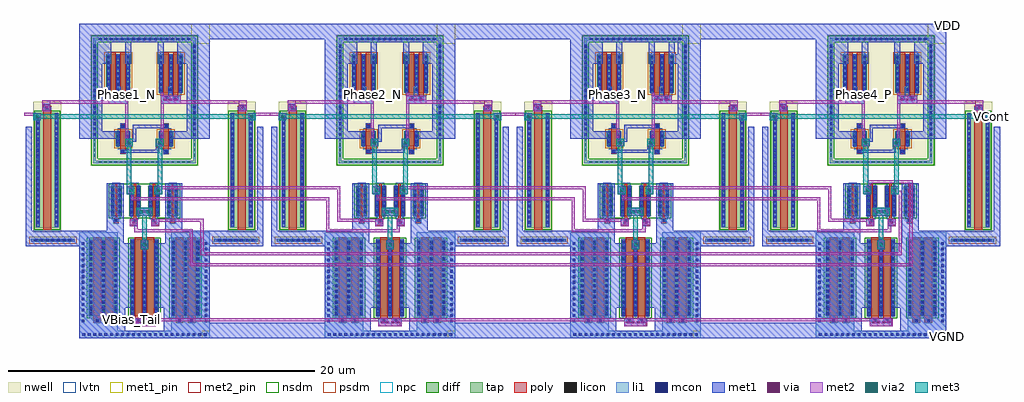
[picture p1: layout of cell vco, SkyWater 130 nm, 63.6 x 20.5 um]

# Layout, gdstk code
from math import pi, radians
import gdstk
lib = gdstk.Library(unit=1e-6, precision=1e-09)
def R(c, l, rs):  # rectangles x0, y0, x1, y1
    for r in rs: c.add(gdstk.rectangle(r[:2], r[2:], *l))
def A(c, l, x, y, w, h, nx, ny, dx, dy):  # array of equal rectangles
    R(c, l, [(x+i*dx, y+j*dy, x+i*dx+w, y+j*dy+h) for i in range(nx) for j in range(ny)])
nwell = (64, 20)
diff = (65, 20)
tap = (65, 44)
poly = (66, 20)
licon = (66, 44)
li1 = (67, 20)
mcon = (67, 44)
met1_pin = (68, 16)
met1 = (68, 20)
via = (68, 44)
met2_pin = (69, 16)
met2 = (69, 20)
via2 = (69, 44)
met3 = (70, 20)
nsdm = (93, 44)
psdm = (94, 20)
npc = (95, 20)
lvtn = (125, 44)

sky130_fd_pr__cap_var_lv = lib.new_cell('sky130_fd_pr__cap_var_lvt_2MFS6B')
R(sky130_fd_pr__cap_var_lv, nwell, [(-0.915,-4.135,0.915,4.13)])
R(sky130_fd_pr__cap_var_lv, tap, [(-0.735,-3.825,0.735,3.675)])
R(sky130_fd_pr__cap_var_lv, poly, [(-0.25,-3.955,0.25,4.115)])
A(sky130_fd_pr__cap_var_lv, licon, -0.675, -3.56, 0.17, 0.17, 1, 21, 0, 0.34)
A(sky130_fd_pr__cap_var_lv, licon, 0.505, -3.56, 0.17, 0.17, 1, 21, 0, 0.34)
R(sky130_fd_pr__cap_var_lv, licon, [(-0.085,3.865,0.085,4.035)])
R(sky130_fd_pr__cap_var_lv, li1, [(-0.675,-3.785,-0.505,3.635), (0.505,-3.785,0.675,3.635), (-0.25,3.865,0.25,4.035)])
A(sky130_fd_pr__cap_var_lv, mcon, -0.675, -3.58, 0.17, 0.17, 1, 20, 0, 0.36)
A(sky130_fd_pr__cap_var_lv, mcon, 0.505, -3.58, 0.17, 0.17, 1, 20, 0, 0.36)
R(sky130_fd_pr__cap_var_lv, mcon, [(-0.085,3.865,0.085,4.035)])
R(sky130_fd_pr__cap_var_lv, met1, [(-0.705,-3.765,-0.475,3.615), (0.475,-3.765,0.705,3.615), (-0.23,3.835,0.23,4.065)])
R(sky130_fd_pr__cap_var_lv, nsdm, [(-0.86,-3.95,0.86,3.8)])
R(sky130_fd_pr__cap_var_lv, npc, [(-0.185,3.765,0.185,4.135)])

sky130_fd_pr__nfet_01v8_ = lib.new_cell('sky130_fd_pr__nfet_01v8_lvt_LD3PZJ')
R(sky130_fd_pr__nfet_01v8_, diff, [(-0.365,-0.845,0.365,1.155)])
R(sky130_fd_pr__nfet_01v8_, poly, [(-0.165,-1.285,0.165,-0.955), (-0.075,-0.955,0.075,1.285)])
A(sky130_fd_pr__nfet_01v8_, licon, -0.305, -0.78, 0.17, 0.17, 1, 6, 0, 0.34)
A(sky130_fd_pr__nfet_01v8_, licon, 0.135, -0.78, 0.17, 0.17, 1, 6, 0, 0.34)
R(sky130_fd_pr__nfet_01v8_, licon, [(-0.085,-1.205,0.085,-1.035)])
R(sky130_fd_pr__nfet_01v8_, li1, [(-0.165,-1.205,0.165,-1.035), (-0.305,-0.865,-0.135,1.175), (0.135,-0.865,0.305,1.175)])
A(sky130_fd_pr__nfet_01v8_, mcon, -0.305, -0.65, 0.17, 0.17, 1, 5, 0, 0.36)
A(sky130_fd_pr__nfet_01v8_, mcon, 0.135, -0.65, 0.17, 0.17, 1, 5, 0, 0.36)
R(sky130_fd_pr__nfet_01v8_, mcon, [(-0.085,-1.205,0.085,-1.035)])
R(sky130_fd_pr__nfet_01v8_, met1, [(-0.145,-1.235,0.145,-1.005), (-0.335,-0.845,-0.105,1.155), (0.105,-0.845,0.335,1.155)])
R(sky130_fd_pr__nfet_01v8_, nsdm, [(-0.49,-0.97,0.49,1.28)])
R(sky130_fd_pr__nfet_01v8_, npc, [(-0.185,-1.305,0.185,-0.935)])
R(sky130_fd_pr__nfet_01v8_, lvtn, [(-0.255,-1.025,0.255,1.335)])

c_sky130_fd_pr__nfet_01v8_ = lib.new_cell('sky130_fd_pr__nfet_01v8_VYPRF6')
R(c_sky130_fd_pr__nfet_01v8_, diff, [(-0.935,-2.345,0.935,2.655)])
R(c_sky130_fd_pr__nfet_01v8_, poly, [(-0.645,-2.785,-0.145,2.785), (0.145,-2.785,0.645,2.785)])
A(c_sky130_fd_pr__nfet_01v8_, licon, -0.875, -2.14, 0.17, 0.17, 3, 14, 0.79, 0.34)
R(c_sky130_fd_pr__nfet_01v8_, licon, [(-0.48,-2.705,-0.31,-2.535), (0.31,-2.705,0.48,-2.535)])
A(c_sky130_fd_pr__nfet_01v8_, li1, -0.875, -2.365, 0.17, 5.04, 3, 1, 0.79, 0)
R(c_sky130_fd_pr__nfet_01v8_, li1, [(-0.645,-2.705,-0.145,-2.535), (0.145,-2.705,0.645,-2.535)])
A(c_sky130_fd_pr__nfet_01v8_, mcon, -0.875, -2.27, 0.17, 0.17, 3, 14, 0.79, 0.36)
R(c_sky130_fd_pr__nfet_01v8_, mcon, [(-0.48,-2.705,-0.31,-2.535), (0.31,-2.705,0.48,-2.535)])
A(c_sky130_fd_pr__nfet_01v8_, met1, -0.905, -2.345, 0.23, 5, 3, 1, 0.79, 0)
R(c_sky130_fd_pr__nfet_01v8_, met1, [(-0.625,-2.735,-0.165,-2.505), (0.165,-2.735,0.625,-2.505)])
R(c_sky130_fd_pr__nfet_01v8_, nsdm, [(-1.06,-2.47,1.06,2.78)])
R(c_sky130_fd_pr__nfet_01v8_, npc, [(-0.58,-2.805,-0.21,-2.435), (0.21,-2.805,0.58,-2.435)])

sky130_fd_pr__pfet_01v8_ = lib.new_cell('sky130_fd_pr__pfet_01v8_lvt_588M4F')
R(sky130_fd_pr__pfet_01v8_, nwell, [(-0.645,-1,0.645,1)])
R(sky130_fd_pr__pfet_01v8_, diff, [(-0.465,-0.5,0.465,0.5)])
R(sky130_fd_pr__pfet_01v8_, poly, [(-0.175,-0.985,0.175,0.985)])
A(sky130_fd_pr__pfet_01v8_, licon, -0.405, -0.425, 0.17, 0.17, 1, 3, 0, 0.34)
A(sky130_fd_pr__pfet_01v8_, licon, 0.235, -0.425, 0.17, 0.17, 1, 3, 0, 0.34)
R(sky130_fd_pr__pfet_01v8_, licon, [(-0.085,-0.905,0.085,-0.735), (-0.085,0.735,0.085,0.905)])
R(sky130_fd_pr__pfet_01v8_, li1, [(-0.175,-0.905,0.175,-0.735), (-0.405,-0.52,-0.235,0.52), (0.235,-0.52,0.405,0.52), (-0.175,0.735,0.175,0.905)])
R(sky130_fd_pr__pfet_01v8_, mcon, [(-0.085,-0.905,0.085,-0.735), (-0.405,-0.265,-0.235,-0.095), (0.235,-0.265,0.405,-0.095), (-0.405,0.095,-0.235,0.265), (0.235,0.095,0.405,0.265), (-0.085,0.735,0.085,0.905)])
R(sky130_fd_pr__pfet_01v8_, met1, [(-0.155,-0.935,0.155,-0.705), (-0.435,-0.5,-0.205,0.5), (0.205,-0.5,0.435,0.5), (-0.155,0.705,0.155,0.935)])
R(sky130_fd_pr__pfet_01v8_, psdm, [(-0.59,-0.625,0.59,0.625)])
R(sky130_fd_pr__pfet_01v8_, npc, [(-0.185,-1.005,0.185,-0.635), (-0.185,0.635,0.185,1.005)])
R(sky130_fd_pr__pfet_01v8_, lvtn, [(-0.355,-0.68,0.355,0.68)])

c_sky130_fd_pr__pfet_01v8_ = lib.new_cell('sky130_fd_pr__pfet_01v8_lvt_RE2QD2')
R(c_sky130_fd_pr__pfet_01v8_, nwell, [(-0.965,-1.57,0.965,1.74)])
R(c_sky130_fd_pr__pfet_01v8_, diff, [(-0.785,-1.07,0.785,1.43)])
R(c_sky130_fd_pr__pfet_01v8_, poly, [(-0.495,-1.555,-0.145,1.56), (0.145,-1.555,0.495,1.56)])
A(c_sky130_fd_pr__pfet_01v8_, licon, -0.725, -0.925, 0.17, 0.17, 3, 7, 0.64, 0.34)
R(c_sky130_fd_pr__pfet_01v8_, licon, [(-0.405,-1.475,-0.235,-1.305), (0.235,-1.475,0.405,-1.305)])
A(c_sky130_fd_pr__pfet_01v8_, li1, -0.725, -1.09, 0.17, 2.54, 3, 1, 0.64, 0)
R(c_sky130_fd_pr__pfet_01v8_, li1, [(-0.495,-1.475,-0.145,-1.305), (0.145,-1.475,0.495,-1.305)])
A(c_sky130_fd_pr__pfet_01v8_, mcon, -0.725, -0.985, 0.17, 0.17, 3, 7, 0.64, 0.36)
R(c_sky130_fd_pr__pfet_01v8_, mcon, [(-0.405,-1.475,-0.235,-1.305), (0.235,-1.475,0.405,-1.305)])
A(c_sky130_fd_pr__pfet_01v8_, met1, -0.755, -1.07, 0.23, 2.5, 3, 1, 0.64, 0)
R(c_sky130_fd_pr__pfet_01v8_, met1, [(-0.475,-1.505,-0.165,-1.275), (0.165,-1.505,0.475,-1.275)])
R(c_sky130_fd_pr__pfet_01v8_, psdm, [(-0.91,-1.195,0.91,1.555)])
R(c_sky130_fd_pr__pfet_01v8_, npc, [(-0.505,-1.575,-0.135,-1.205), (0.135,-1.575,0.505,-1.205)])
R(c_sky130_fd_pr__pfet_01v8_, lvtn, [(-0.675,-1.25,0.675,1.61)])

delay_cell = lib.new_cell('delay_cell')
R(delay_cell, nwell, [(-6.5,-0.6,-4.67,7.9), (6.17,-0.6,8,7.9), (-2.765,3.735,4.265,12.265)])
R(delay_cell, tap, [(-6.62,-1.2,-3.78,-1), (5.28,-1.2,8.12,-1), (-2.585,3.915,4.085,4.085), (-2.585,4.085,-2.415,11.915), (3.915,4.085,4.085,11.915), (-2.585,11.915,4.085,12.085)])
A(delay_cell, licon, -6.475, -1.185, 0.17, 0.17, 8, 1, 0.34, 0)
A(delay_cell, licon, 5.425, -1.185, 0.17, 0.17, 8, 1, 0.34, 0)
A(delay_cell, licon, -2.225, 3.915, 0.17, 0.17, 18, 2, 0.34, 8)
A(delay_cell, licon, -2.585, 4.345, 0.17, 0.17, 1, 22, 0, 0.34)
A(delay_cell, licon, 3.915, 4.345, 0.17, 0.17, 1, 22, 0, 0.34)
R(delay_cell, li1, [(-3.5,-7.5,5,-7), (-3.5,-7,-1,-0.6), (2.5,-7,5,-0.6), (-6.58,-1.2,-3.82,-1), (5.32,-1.2,8.08,-1), (-2.585,3.915,4.085,4.085), (-2.585,4.085,-2.415,5.6), (3.915,4.085,4.085,5.6), (-2.6,5.6,-2.4,11.7), (3.9,5.6,4.1,11.7), (-2.585,11.7,-2.415,11.915), (3.915,11.7,4.085,11.915), (-2.585,11.915,4.085,12.085)])
A(delay_cell, mcon, -3.295, -7.335, 0.17, 0.17, 23, 1, 0.36, 0)
A(delay_cell, mcon, -3.335, -6.455, 0.17, 0.17, 1, 15, 0, 0.36)
A(delay_cell, mcon, 4.665, -6.455, 0.17, 0.17, 1, 15, 0, 0.36)
A(delay_cell, mcon, -6.365, -1.185, 0.17, 0.17, 7, 1, 0.36, 0)
A(delay_cell, mcon, 5.535, -1.185, 0.17, 0.17, 7, 1, 0.36, 0)
A(delay_cell, mcon, -2.585, 5.685, 0.17, 0.17, 1, 17, 0, 0.36)
A(delay_cell, mcon, 3.915, 5.685, 0.17, 0.17, 1, 17, 0, 0.36)
A(delay_cell, mcon, -2.215, 11.915, 0.17, 0.17, 17, 1, 0.36, 0)
R(delay_cell, met1_pin, [(4.5,-7.5,5,-7), (3.785,11.7,5,13)])
R(delay_cell, met1, [(-3.5,-7.5,5,-7), (-3.5,-7,-0.5,-5.5), (2,-7,5,-5.5), (0,-6.7,1.5,-6.2), (-3.5,-5.5,0.1,-1.5), (1.4,-5.5,5,-1.5), (0.665,-1.8,0.835,-1.7), (0.5,-1.7,1,-1.1), (-7,-1.5,0.1,-1.3), (1.4,-1.5,8.5,-1.3), (-7,-1.3,-0.6,-0.5), (2.1,-1.3,8.5,-0.5), (-7,-0.5,-6.6,6.3), (-1.7,-0.5,-0.6,2.6), (2.1,-0.5,3.2,2.6), (8.1,-0.5,8.5,6.3), (-0.2,-0.2,0.3,0.3), (1.2,-0.2,1.7,0.3), (0.2,0.5,1.3,1), (-0.4,1.9,0.1,2.4), (1.4,1.9,1.9,2.4), (2,4.5,2.3,4.8), (-0.8,4.6,1.7,4.8), (1.5,4.8,1.7,5), (-1.1,5,-1,5.5), (-0.5,5,0,5.3), (1.5,5,2,5.5), (2.5,5,2.6,5.5), (-0.5,5.3,0.2,5.5), (-3.5,5.5,-1,6), (0,5.5,0.2,6.2), (2.5,5.5,5,6), (-3.5,6,-2,11.8), (3.5,6,5,11.8), (-0.8,6.2,-0.5,6.5), (0,6.2,2.3,6.4), (-6.5,6.7,-6,7.2), (7.5,6.7,8,7.2), (-5.9,7.3,-5.4,7.8), (6.9,7.3,7.4,7.7), (-1.6,7.8,-0.3,8.3), (1.8,7.8,3.1,8.3), (-1.1,8.3,-0.8,8.9), (2.3,8.3,2.6,8.9), (-1.8,10.4,-1.4,11.8), (-0.5,10.4,-0.1,11.8), (1.6,10.4,2,11.8), (2.9,10.4,3.3,11.8), (-3.5,11.8,5,13)])
A(delay_cell, via, 0.195, -6.525, 0.15, 0.15, 4, 1, 0.32, 0)
A(delay_cell, via, 0.355, 0.675, 0.15, 0.15, 3, 1, 0.32, 0)
A(delay_cell, via, -1.345, 7.975, 0.15, 0.15, 3, 1, 0.32, 0)
A(delay_cell, via, 2.055, 7.975, 0.15, 0.15, 3, 1, 0.32, 0)
R(delay_cell, via, [(0.675,-1.475,0.825,-1.325), (-0.025,-0.025,0.125,0.125), (1.375,-0.025,1.525,0.125), (-0.225,2.075,-0.075,2.225), (1.575,2.075,1.725,2.225), (-0.325,5.175,-0.175,5.325), (1.675,5.175,1.825,5.325), (-6.325,6.875,-6.175,7.025), (7.675,6.875,7.825,7.025), (-5.725,7.475,-5.575,7.625), (7.075,7.475,7.225,7.625)])
R(delay_cell, met2_pin, [(1.4,-6.7,1.5,-6.2), (-0.2,-0.2,0.3,-0.1), (1.2,-0.2,1.7,-0.1), (-7.1,7,-6.4,7.2), (-5.9,7.7,-5.4,8), (6.9,7.7,7.4,8)])
R(delay_cell, met2, [(0,-6.7,1.5,-6.2), (0.5,-1.7,1,-1.1), (-0.2,-0.2,0.3,0.3), (1.2,-0.2,1.7,0.3), (0.2,0.5,1.3,1), (-0.4,1.9,0.1,2.4), (1.4,1.9,1.9,2.4), (-0.5,5,0,5.5), (1.5,5,2,5.5), (-0.5,5.5,-0.3,7.8), (1.8,5.5,2,7.8), (-6.5,6.7,-6,7), (7.5,6.7,8,7.2), (-7.1,7,-6,7.2), (-5.9,7.3,-5.4,7.8), (6.9,7.3,7.4,7.8), (-5.9,7.8,-0.3,8), (1.8,7.8,7.4,8), (-1.6,8,-0.3,8.3), (1.8,8,3.1,8.3)])
R(delay_cell, via2, [(0.65,-1.5,0.85,-1.3), (0.45,0.65,0.65,0.85), (0.85,0.65,1.05,0.85), (-0.25,2.05,-0.05,2.25), (1.55,2.05,1.75,2.25), (-0.35,5.15,-0.15,5.35), (1.65,5.15,1.85,5.35), (-6.35,6.85,-6.15,7.05), (7.65,6.85,7.85,7.05)])
R(delay_cell, met3, [(0.5,-1.7,1,-1.1), (0.6,-1.1,0.9,0.5), (0.2,0.5,1.3,1), (-0.4,1.9,0.1,2.4), (1.4,1.9,1.9,2.4), (-0.4,2.4,-0.1,5), (1.6,2.4,1.9,5), (-0.5,5,0,5.5), (1.5,5,2,5.5), (-6.5,6.7,-6,6.8), (7.5,6.7,8,6.8), (-6.5,6.8,8,7.1), (-6.5,7.1,-6,7.2), (7.5,7.1,8,7.2)])
A(delay_cell, nsdm, -0.605, 0.315, 0.25, 2.25, 3, 1, 1.23, 0)
R(delay_cell, nsdm, [(-2.71,3.79,4.21,4.21), (-2.71,4.21,-2.29,11.79), (3.79,4.21,4.21,11.79), (-2.71,11.79,4.21,12.21)])
R(delay_cell, psdm, [(-6.745,-1.325,-3.655,-0.875), (5.155,-1.325,8.245,-0.875)])
delay_cell.add(gdstk.Reference(sky130_fd_pr__cap_var_lv, (-5.585,3.535), rotation=pi, x_reflection=True))
delay_cell.add(gdstk.Reference(sky130_fd_pr__nfet_01v8_, (0.135,1.285)))
delay_cell.add(gdstk.Reference(sky130_fd_pr__nfet_01v8_, (-1.095,1.285)))
delay_cell.add(gdstk.Reference(c_sky130_fd_pr__nfet_01v8_, (0.75,-3.715)))
delay_cell.add(gdstk.Reference(c_sky130_fd_pr__nfet_01v8_, (-1.935,-3.715), rotation=pi, x_reflection=True))
delay_cell.add(gdstk.Reference(sky130_fd_pr__nfet_01v8_, (1.365,1.285), rotation=pi, x_reflection=True))
delay_cell.add(gdstk.Reference(sky130_fd_pr__nfet_01v8_, (2.595,1.285), rotation=pi, x_reflection=True))
delay_cell.add(gdstk.Reference(c_sky130_fd_pr__nfet_01v8_, (3.435,-3.715)))
delay_cell.add(gdstk.Reference(sky130_fd_pr__cap_var_lv, (7.085,3.535)))
delay_cell.add(gdstk.Reference(sky130_fd_pr__pfet_01v8_, (-0.645,5.5), rotation=pi, x_reflection=True))
delay_cell.add(gdstk.Reference(c_sky130_fd_pr__pfet_01v8_, (-0.965,9.57), rotation=pi, x_reflection=True))
delay_cell.add(gdstk.Reference(sky130_fd_pr__pfet_01v8_, (2.145,5.5)))
delay_cell.add(gdstk.Reference(c_sky130_fd_pr__pfet_01v8_, (2.465,9.57)))
delay_cell.add(gdstk.Label('VGND', (4.75,-7.25), layer=68, texttype=5))
delay_cell.add(gdstk.Label('VDD', (4.392,12.35), layer=68, texttype=5))
delay_cell.add(gdstk.Label('Vin1', (0.05,-0.15), layer=69, texttype=5))
delay_cell.add(gdstk.Label('Vin2', (1.45,-0.15), layer=69, texttype=5))
delay_cell.add(gdstk.Label('VBias_Tail', (1.45,-6.45), layer=69, texttype=5))
delay_cell.add(gdstk.Label('Vout1', (-5.65,7.85), layer=69, texttype=5))
delay_cell.add(gdstk.Label('Vout2', (7.15,7.85), layer=69, texttype=5))
delay_cell.add(gdstk.Label('VCont', (-6.75,7.1), layer=69, texttype=5))

vco = lib.new_cell('vco')
R(vco, met1_pin, [(59.5,-0.5,59.6,-0.3), (59.5,19.8,59.6,20)])
R(vco, met1, [(10.5,-0.5,21,0.5), (27.5,-0.5,35,0.5), (42,-0.5,51.93,0.5), (59.5,-0.5,59.6,-0.3), (4.2,17.4,5.1,18.8), (9.7,17.4,10.6,18.8), (20.1,17.4,21,18.8), (25.6,17.4,26.5,18.8), (36.1,17.4,37,18.8), (41.4,17.4,42.3,18), (52.2,17.4,53.1,18), (57.5,17.4,58.4,18.8), (41.4,18,41.5,18.8), (52.5,18,53.1,18.8), (11.5,19,19,20), (27.5,19,35,20), (42.285,19,52.215,20), (59.5,19.8,59.6,20)])
R(vco, met2_pin, [(6.3,0.6,6.5,0.8), (62.4,13.7,62.5,14.2), (6,15.3,6.2,15.5), (8.3,15.3,8.5,15.5), (22,15.3,22.2,15.5), (24.3,15.3,24.5,15.5), (38,15.3,38.2,15.5), (40.3,15.3,40.5,15.5), (54,15.3,54.2,15.5), (56.3,15.3,56.5,15.5)])
A(vco, met2, 19.1, 6.4, 4.8, 0.2, 3, 1, 16, 0)
A(vco, met2, 19.1, 6.6, 0.2, 1.9, 3, 1, 16, 0)
A(vco, met2, 23.7, 6.6, 0.2, 0.2, 3, 1, 16, 0)
A(vco, met2, 19.8, 7.1, 2.5, 0.2, 3, 1, 16, 0)
A(vco, met2, 19.8, 7.3, 0.2, 1.9, 3, 1, 16, 0)
A(vco, met2, 6.4, 8.5, 12.9, 0.2, 3, 1, 16, 0)
A(vco, met2, 6.4, 8.7, 0.2, 0.2, 3, 1, 16, 0)
A(vco, met2, 8.4, 9.2, 11.6, 0.2, 3, 1, 16, 0)
A(vco, met2, 14.5, 14, 0.9, 0.2, 3, 1, 16, 0)
R(vco, met2, [(6.3,0.6,6.5,0.8), (8,0.6,22.7,0.8), (24,0.6,38.5,0.8), (40,0.6,54.5,0.8), (10.2,4.2,57.3,4.4), (10.2,4.4,10.4,6.4), (57.1,4.4,57.3,9.6), (10.9,4.9,56.6,5.1), (10.9,5.1,11.1,7.1), (56.4,5.1,56.6,9.1), (6.6,6.4,10.4,6.6), (6.6,6.6,6.8,6.8), (23.8,6.9,24.1,7.2), (8.2,7.1,11.1,7.3), (54.4,9.4,54.6,9.6), (54.4,9.6,57.3,9.8), (62.4,13.7,62.5,14.2), (6,15.3,6.2,15.5), (8.3,15.3,8.5,15.5), (22,15.3,22.2,15.5), (24.3,15.3,24.5,15.5), (38,15.3,38.2,15.5), (40.3,15.3,40.5,15.5), (54,15.3,54.2,15.5), (56.3,15.3,56.5,15.5)])
vco.add(gdstk.Reference(delay_cell, (54.5,7)))
vco.add(gdstk.Reference(delay_cell, (38.5,7)))
vco.add(gdstk.Reference(delay_cell, (22.5,7)))
vco.add(gdstk.Reference(delay_cell, (6.5,7)))
vco.add(gdstk.Label('VDD', (59.55,19.9), layer=68, texttype=5))
vco.add(gdstk.Label('VGND', (59.55,-0.4), layer=68, texttype=5))
vco.add(gdstk.Label('Phase1_N', (6.1,15.4), layer=69, texttype=5))
vco.add(gdstk.Label('Phase1_P', (8.4,15.4), layer=69, texttype=5))
vco.add(gdstk.Label('Phase2_N', (22.1,15.4), layer=69, texttype=5))
vco.add(gdstk.Label('Phase2_P', (24.4,15.4), layer=69, texttype=5))
vco.add(gdstk.Label('Phase3_N', (38.1,15.4), layer=69, texttype=5))
vco.add(gdstk.Label('Phase3_P', (40.4,15.4), layer=69, texttype=5))
vco.add(gdstk.Label('Phase4_P', (54.1,15.4), layer=69, texttype=5))
vco.add(gdstk.Label('VBias_Tail', (6.4,0.7), layer=69, texttype=5))
vco.add(gdstk.Label('Phase4_N', (56.4,15.4), layer=69, texttype=5))
vco.add(gdstk.Label('VCont', (62.45,13.95), layer=69, texttype=5))

lib.write_gds('vco.gds')
